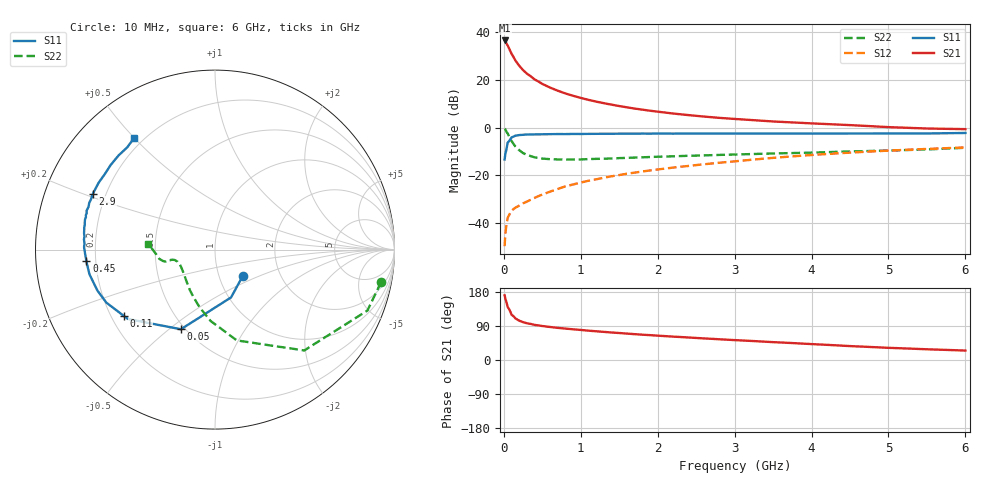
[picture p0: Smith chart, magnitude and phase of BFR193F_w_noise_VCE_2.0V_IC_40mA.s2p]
! Infineon Technologies  Discrete & RF Semiconductors
! BFR193F
! VCE =  2.0 V,  IC =  40 mA
! Common Emitter S-Parameters:  Jan 2017
# GHz  S  MA  R  50
!  f  S11  S21  S12  S22
! GHz  MAG  ANG  MAG  ANG  MAG  ANG  MAG  ANG
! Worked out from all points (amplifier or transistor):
!   77 points, 10 MHz to 6 GHz, reference 50 ohm
!   highest |S21| = 36.6 dB at 10 MHz (marker M1)
!   |S21| within 3 dB of that: start of sweep to 63.17 MHz
!   unconditionally stable (mu >= 1): 877.8 MHz to 2.699 GHz
!   at 130 MHz: K = 0.47, MSG = 31.8 dB, |S12| = -34.2 dB
!   at 2.2 GHz: K = 1.02, MAG = 10.5 dB, |S12| = -16.9 dB
!   at 6 GHz: K = 0.89, MSG = 3.8 dB, |S12| = -8.4 dB
!   lowest NFmin = 1.34 dB at 450 MHz
!   S11 on the Smith chart (normalised r, x): 10 MHz: 1.30, -0.40; 50 MHz: 0.48, -0.55; 110 MHz: 0.25, -0.31; 450 MHz: 0.16, -0.04; 2.9 GHz: 0.15, +0.21; 6 GHz: 0.16, +0.50
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0.01  0.2129 -43.1  67.7 170.8  0.0032 82.1  0.943 -11.1
0.02  0.2809 -71.4  64.97 161.4  0.0059 77.0  0.9146 -21.8
0.05  0.4828 -113.2  53 139.7  0.0126 59.8  0.7504 -48.5
0.1  0.6206 -141.5  35.57 119.6  0.0178 49.9  0.5202 -76.5
0.11  0.6287 -144.1  33.53 118.1  0.0184 49.9  0.4931 -79.2
0.15  0.6733 -153.9  25.71 109.8  0.0206 50.1  0.399 -93.4
0.2  0.6938 -160.8  19.88 103.8  0.0228 50.9  0.3334 -104.8
0.25  0.7035 -165.7  16.11 99.9  0.0255 53.9  0.2901 -114.5
0.3  0.7127 -168.8  13.57 97.0  0.0277 56.0  0.2665 -121.5
0.4  0.7174 -173.4  10.27 92.6  0.0332 60.4  0.2363 -132.6
0.45  0.7191 -174.9  9.265 91.3  0.0361 62.1  0.2287 -136.3
0.6  0.7251 -178.8  6.925 87.1  0.0448 65.6  0.216 -146.1
0.7  0.7297 178.9  5.948 84.8  0.051 67.7  0.2133 -150.1
0.9  0.7324 175.5  4.648 81.0  0.0634 69.9  0.2126 -156.5
1.1  0.7351 172.9  3.819 77.4  0.0759 70.9  0.2169 -159.9
1.5  0.7413 168.2  2.83 71.2  0.1001 72.1  0.2274 -164.4
2.1  0.7455 162.2  2.061 63.0  0.1374 71.7  0.2456 -166.6
2.9  0.7475 155.3  1.555 53.6  0.1879 70.1  0.2678 -166.4
3.1  0.7474 153.6  1.479 51.5  0.2014 69.6  0.2732 -166.2
4.1  0.7448 144.7  1.202 41.0  0.2707 64.9  0.3 -168.2
5.1  0.7504 134.7  1.006 31.4  0.3323 58.8  0.3317 -176.3
6  0.7678 126.1  0.924 24.9  0.3812 53.4  0.3752 175.2
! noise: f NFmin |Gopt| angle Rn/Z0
0.45  1.34  0.43  179  0.06
0.9  1.42  0.44  180  0.07
1.9  1.98  0.59  -165  0.08
2.4  2.27  0.61  -157  0.13
